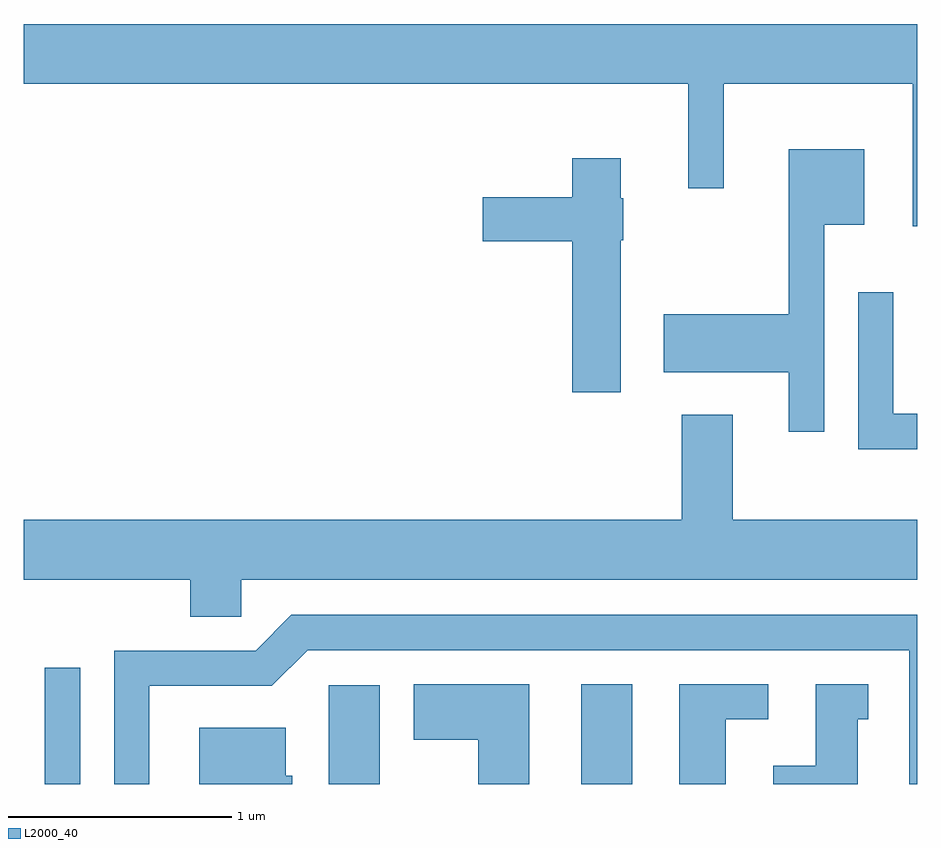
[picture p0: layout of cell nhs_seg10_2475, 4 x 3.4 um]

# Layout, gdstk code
import gdstk
lib = gdstk.Library(unit=1e-6, precision=1e-09)
def R(c, l, rs):  # rectangles x0, y0, x1, y1
    for r in rs: c.add(gdstk.rectangle(r[:2], r[2:], *l))
def P(c, l, *ps):  # polygons
    for p in ps: c.add(gdstk.Polygon(p, *l))
L2000_40 = (2000, 40)

nhs_seg10_2475 = lib.new_cell('nhs_seg10_2475')
R(nhs_seg10_2475, L2000_40, [(257.706,2148.522,257.864,2149.043), (258.976,2148.522,259.204,2148.964), (260.106,2148.522,260.334,2148.969)])
P(nhs_seg10_2475, L2000_40, [(261.611,2151.924),(257.611,2151.924),(257.611,2151.656),(260.586,2151.656),(260.586,2151.188),(260.744,2151.188),(260.744,2151.656),(261.591,2151.656),(261.591,2151.018),(261.611,2151.018)],
  [(261.194,2151.026),(261.374,2151.026),(261.374,2151.364),(261.036,2151.364),(261.036,2150.624),(260.476,2150.624),(260.476,2150.366),(261.036,2150.366),(261.036,2150.098),(261.194,2150.098)],
  [(260.284,2150.955),(260.294,2150.955),(260.294,2151.145),(260.284,2151.145),(260.284,2151.324),(260.066,2151.324),(260.066,2151.149),(259.666,2151.149),(259.666,2150.951),(260.066,2150.951),(260.066,2150.276),(260.284,2150.276)],
  [(261.611,2150.179),(261.504,2150.179),(261.504,2150.723),(261.346,2150.723),(261.346,2150.021),(261.611,2150.021)],
  [(258.584,2149.436),(261.611,2149.436),(261.611,2149.704),(260.784,2149.704),(260.784,2150.174),(260.556,2150.174),(260.556,2149.704),(257.611,2149.704),(257.611,2149.436),(258.356,2149.436),(258.356,2149.271),(258.584,2149.271)],
  [(258.174,2148.961),(258.722,2148.961),(258.882,2149.121),(261.576,2149.121),(261.576,2148.522),(261.611,2148.522),(261.611,2149.279),(258.808,2149.279),(258.649,2149.119),(258.016,2149.119),(258.016,2148.522),(258.174,2148.522)],
  [(259.874,2148.969),(259.356,2148.969),(259.356,2148.721),(259.646,2148.721),(259.646,2148.522),(259.874,2148.522)],
  [(261.344,2148.811),(261.392,2148.811),(261.392,2148.969),(261.156,2148.969),(261.156,2148.604),(260.966,2148.604),(260.966,2148.522),(261.344,2148.522)],
  [(260.754,2148.811),(260.943,2148.811),(260.943,2148.969),(260.546,2148.969),(260.546,2148.522),(260.754,2148.522)],
  [(258.814,2148.559),(258.784,2148.559),(258.784,2148.774),(258.396,2148.774),(258.396,2148.522),(258.814,2148.522)])

lib.write_gds('nhs_seg10_2475.gds')
